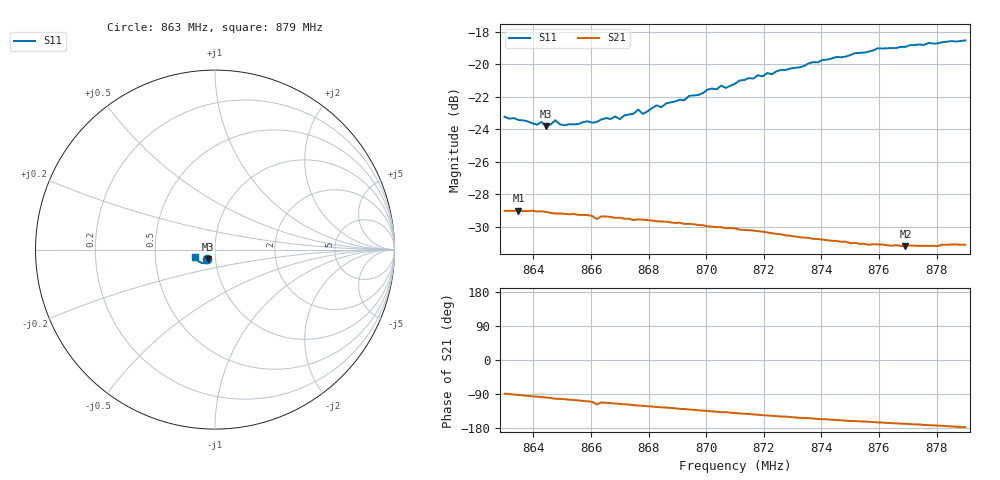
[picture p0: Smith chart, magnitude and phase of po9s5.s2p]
# HZ S RI R 50
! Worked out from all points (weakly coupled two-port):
!   101 points, 863 MHz to 879 MHz, reference 50 ohm
!   highest |S21| = -29.01 dB at 863.48 MHz (marker M1); lowest = -31.2 dB at 876.92 MHz (marker M2)
!   lowest |S11| = -23.8 dB at 864.44 MHz (marker M3), VSWR 1.14, Z = 46.1 - j4.88 ohm
!   |S11| at or under -10 dB: start of sweep to end of sweep
!   S12 and S22 are empty: the file has one direction only
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8.63e8  -0.0438 -0.0531  0.000642 -0.0354  0 0  0 0
8.6348e8  -0.0425 -0.0522  -0.00143 -0.0354  0 0  0 0
8.6412e8  -0.0384 -0.0526  -0.00411 -0.035  0 0  0 0
8.6428e8  -0.0382 -0.0543  -0.00485 -0.0349  0 0  0 0
8.6444e8  -0.0374 -0.0526  -0.00542 -0.0347  0 0  0 0
8.6476e8  -0.0387 -0.0549  -0.00745 -0.0339  0 0  0 0
8.6508e8  -0.0354 -0.0543  -0.00817 -0.0337  0 0  0 0
8.6572e8  -0.0342 -0.0568  -0.0107 -0.0327  0 0  0 0
8.662e8  -0.0337 -0.0572  -0.0152 -0.0297  0 0  0 0
8.6636e8  -0.0352 -0.0577  -0.0127 -0.0315  0 0  0 0
8.6684e8  -0.0333 -0.0605  -0.0141 -0.0306  0 0  0 0
8.67e8  -0.0336 -0.0588  -0.0146 -0.0304  0 0  0 0
8.6764e8  -0.0353 -0.0633  -0.0167 -0.0289  0 0  0 0
8.678e8  -0.0335 -0.0618  -0.017 -0.0285  0 0  0 0
8.6828e8  -0.0348 -0.066  -0.0184 -0.0272  0 0  0 0
8.6844e8  -0.0349 -0.0649  -0.0187 -0.0269  0 0  0 0
8.7004e8  -0.0421 -0.0721  -0.0222 -0.0227  0 0  0 0
8.71e8  -0.0471 -0.0732  -0.0239 -0.0201  0 0  0 0
8.7372e8  -0.0671 -0.076  -0.0262 -0.0125  0 0  0 0
8.7644e8  -0.0926 -0.0631  -0.0269 -0.00634  0 0  0 0
8.7692e8  -0.096 -0.0597  -0.027 -0.00557  0 0  0 0
8.79e8  -0.111 -0.0406  -0.0278 -0.00123  0 0  0 0
